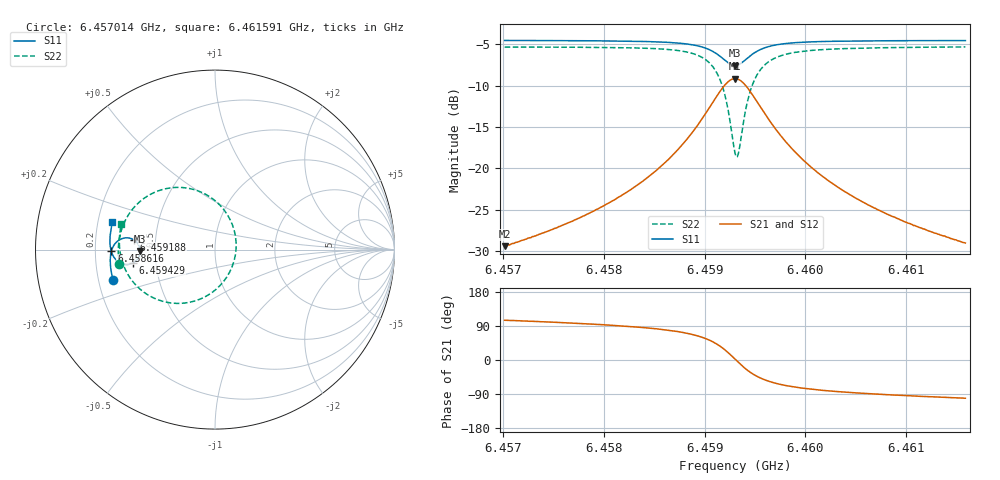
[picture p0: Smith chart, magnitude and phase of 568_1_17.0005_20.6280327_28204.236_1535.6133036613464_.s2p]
#  HZ  S  RI  R  50.00
! Rohde & Schwarz Vector Network Analyzer
! Rohde-Schwarz,ZNB20-2Port,1311601062101988,3.16
! Created: UTC 3/20/2024, 11:17:35 PM
! freq[Hz]  re:S11  im:S11  re:S21  im:S21  re:S12  im:S12  re:S22  im:S22
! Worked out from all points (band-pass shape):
!   401 points, 6.457014 GHz to 6.461591 GHz, reference 50 ohm
!   highest |S21| = -9.16 dB at 6.459303 GHz (marker M1); lowest = -29.4 dB at 6.457014 GHz (marker M2)
!   |S21| within 3 dB of the highest: 6.459075 GHz to 6.459532 GHz (456.8 kHz wide, 0.00707 % of centre)
!   lowest |S11| = -7.6 dB at 6.459303 GHz (marker M3), VSWR 2.43, Z = 20.6 - j0.406 ohm
!   |S11| at or under -10 dB: nowhere
!   |S22| runs from -18.6 to -5.3 dB; largest |S21 - S12| = 0.014
!   S11 on the Smith chart (normalised r, x): 6.457014 GHz: 0.26, -0.14; 6.458616 GHz: 0.27, -0.01; 6.459188 GHz: 0.37, +0.05; 6.459429 GHz: 0.37, -0.07; 6.461591 GHz: 0.26, +0.12
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6.4570144e9  -0.5674 -0.1689  -0.00871 0.0327  -0.00707 0.0326  -0.5336 -0.0814
6.4577811e9  -0.581 -0.102  -0.00548 0.0506  -0.00294 0.0501  -0.5384 0.0087
6.4582159e9  -0.5837 -0.0584  0.00101 0.071  0.00422 0.0695  -0.5293 0.0783
6.4585477e9  -0.5798 -0.0185  0.0147 0.0991  0.0187 0.0964  -0.504 0.1538
6.4586163e9  -0.5776 -0.0089  0.0202 0.1076  0.0242 0.1044  -0.4938 0.174
6.4588108e9  -0.5648 0.0215  0.0469 0.1386  0.0508 0.1336  -0.4435 0.2434
6.4589596e9  -0.5422 0.0478  0.0922 0.1691  0.0953 0.1623  -0.3596 0.3079
6.4590969e9  -0.4982 0.0654  0.1797 0.1858  0.1806 0.1784  -0.1995 0.3465
6.4591884e9  -0.4534 0.0552  0.2702 0.1546  0.2703 0.1488  -0.032 0.2962
6.4592571e9  -0.424 0.0231  0.3312 0.0825  0.3333 0.0771  0.0846 0.1661
6.4593028e9  -0.4169 -0.00814  0.348 0.0141  0.3516 0.00726  0.1177 0.038
6.4593143e9  -0.4173 -0.0162  0.3478 -0.00394  0.3517 -0.0115  0.1173 0.00402
6.4593372e9  -0.4207 -0.032  0.3422 -0.0389  0.3462 -0.0481  0.1062 -0.0627
6.4593829e9  -0.4364 -0.0585  0.3136 -0.0995  0.3159 -0.1115  0.0481 -0.1774
6.4594287e9  -0.4586 -0.075  0.271 -0.1412  0.2703 -0.1544  -0.0381 -0.2532
6.4595202e9  -0.5023 -0.0821  0.1853 -0.1725  0.179 -0.1841  -0.2093 -0.2999
6.459669e9  -0.5467 -0.0615  0.0964 -0.1583  0.0879 -0.1645  -0.3786 -0.2492
6.4598292e9  -0.5682 -0.0336  0.0513 -0.1297  0.0435 -0.1327  -0.4597 -0.1761
6.4600695e9  -0.5809 0.00186  0.0221 -0.098  0.0162 -0.0985  -0.5076 -0.0928
6.4604127e9  -0.5854 0.0428  0.00597 -0.071  0.00191 -0.0704  -0.5289 -0.0133
6.4608361e9  -0.5834 0.0854  -0.00165 -0.0521  -0.00445 -0.0514  -0.5329 0.0552
6.4615913e9  -0.5711 0.1525  -0.00667 -0.0348  -0.00837 -0.0338  -0.5215 0.1449
